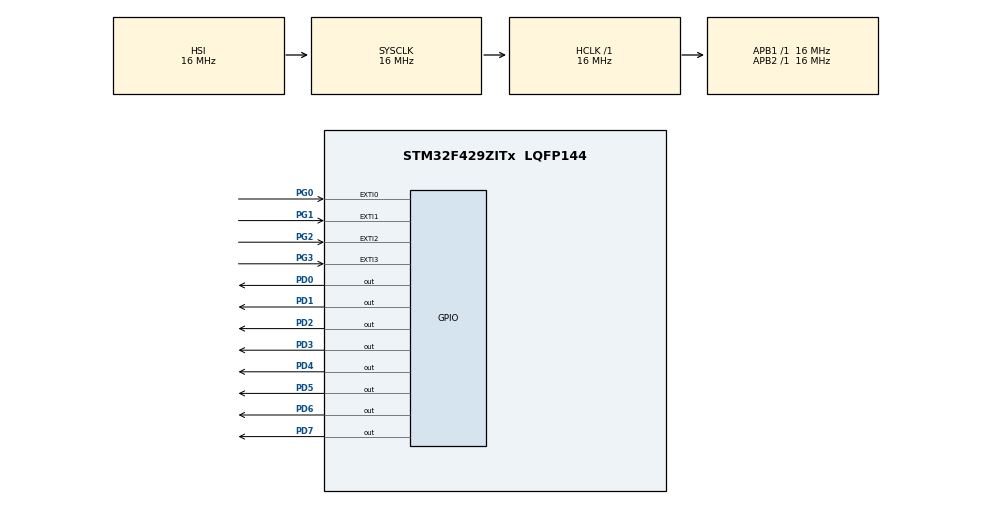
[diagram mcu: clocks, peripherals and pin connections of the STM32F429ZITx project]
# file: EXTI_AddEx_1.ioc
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Mcu.Family=STM32F4
Mcu.Name=STM32F429ZITx
Mcu.Package=LQFP144
NVIC.EXTI0_IRQn=true\:0\:0\:false\:false\:true\:true\:true\:true
NVIC.EXTI1_IRQn=true\:0\:0\:false\:false\:true\:true\:true\:true
NVIC.EXTI2_IRQn=true\:0\:0\:false\:false\:true\:true\:true\:true
NVIC.EXTI3_IRQn=true\:0\:0\:false\:false\:true\:true\:true\:true
NVIC.PriorityGroup=NVIC_PRIORITYGROUP_4
PD0.GPIO_ModeDefaultOutputPP=GPIO_MODE_OUTPUT_PP
PD0.GPIO_PuPd=GPIO_PULLUP
PD0.GPIO_Speed=GPIO_SPEED_FREQ_HIGH
PD0.PinState=GPIO_PIN_RESET
PD0.Signal=GPIO_Output
PD1.GPIO_ModeDefaultOutputPP=GPIO_MODE_OUTPUT_PP
PD1.GPIO_PuPd=GPIO_PULLUP
PD1.GPIO_Speed=GPIO_SPEED_FREQ_HIGH
PD1.PinState=GPIO_PIN_RESET
PD1.Signal=GPIO_Output
PD2.GPIO_ModeDefaultOutputPP=GPIO_MODE_OUTPUT_PP
PD2.GPIO_PuPd=GPIO_PULLUP
PD2.GPIO_Speed=GPIO_SPEED_FREQ_HIGH
PD2.PinState=GPIO_PIN_RESET
PD2.Signal=GPIO_Output
PD3.GPIO_ModeDefaultOutputPP=GPIO_MODE_OUTPUT_PP
PD3.GPIO_PuPd=GPIO_PULLUP
PD3.GPIO_Speed=GPIO_SPEED_FREQ_HIGH
PD3.PinState=GPIO_PIN_RESET
PD3.Signal=GPIO_Output
PD4.GPIO_ModeDefaultOutputPP=GPIO_MODE_OUTPUT_PP
PD4.GPIO_PuPd=GPIO_PULLUP
PD4.GPIO_Speed=GPIO_SPEED_FREQ_HIGH
PD4.PinState=GPIO_PIN_RESET
PD4.Signal=GPIO_Output
PD5.GPIO_ModeDefaultOutputPP=GPIO_MODE_OUTPUT_PP
PD5.GPIO_PuPd=GPIO_PULLUP
PD5.GPIO_Speed=GPIO_SPEED_FREQ_HIGH
PD5.PinState=GPIO_PIN_RESET
PD5.Signal=GPIO_Output
PD6.GPIO_ModeDefaultOutputPP=GPIO_MODE_OUTPUT_PP
PD6.GPIO_PuPd=GPIO_PULLUP
PD6.GPIO_Speed=GPIO_SPEED_FREQ_HIGH
PD6.PinState=GPIO_PIN_RESET
PD6.Signal=GPIO_Output
PD7.GPIO_ModeDefaultOutputPP=GPIO_MODE_OUTPUT_PP
PD7.GPIO_PuPd=GPIO_PULLUP
PD7.GPIO_Speed=GPIO_SPEED_FREQ_HIGH
PD7.PinState=GPIO_PIN_RESET
PD7.Signal=GPIO_Output
PG0.GPIO_ModeDefaultEXTI=GPIO_MODE_IT_FALLING
PG0.GPIO_PuPd=GPIO_NOPULL
PG0.Signal=GPXTI0
PG1.GPIO_ModeDefaultEXTI=GPIO_MODE_IT_FALLING
PG1.GPIO_PuPd=GPIO_NOPULL
PG1.Signal=GPXTI1
PG2.GPIO_ModeDefaultEXTI=GPIO_MODE_IT_RISING
PG2.GPIO_PuPd=GPIO_NOPULL
PG2.Signal=GPXTI2
PG3.GPIO_ModeDefaultEXTI=GPIO_MODE_IT_RISING
PG3.GPIO_PuPd=GPIO_NOPULL
PG3.Signal=GPXTI3
ProjectManager.HeapSize=0x200
ProjectManager.StackSize=0x400
ProjectManager.TargetToolchain=STM32CubeIDE
RCC.AHBFreq_Value=16000000
RCC.APB1Freq_Value=16000000
RCC.APB2Freq_Value=16000000
RCC.CortexFreq_Value=16000000
RCC.HSE_VALUE=25000000
RCC.HSI_VALUE=16000000
RCC.LSE_VALUE=32768
RCC.SYSCLKFreq_VALUE=16000000
RCC.VCOOutputFreq_Value=192000000
board=custom

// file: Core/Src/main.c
/* USER CODE BEGIN Header */
/**
  ******************************************************************************
  * @file           : main.c
  * @brief          : Main program body
  ******************************************************************************
  * @attention
  *
  * Copyright (c) 2023 STMicroelectronics.
  * All rights reserved.
  *
  * This software is licensed under terms that can be found in the LICENSE file
  * in the root directory of this software component.
  * If no LICENSE file comes with this software, it is provided AS-IS.
  *
  ******************************************************************************
  */
/* USER CODE END Header */
#include "main.h"

/* USER CODE BEGIN PV */

int flag_SW1 = 0, flag_SW2 = 0, flag_SW3 = 0, flag_SW4 = 0;

/* USER CODE END PV */

void SystemClock_Config(void);
static void MX_GPIO_Init(void);
/* USER CODE BEGIN PFP */

void LED_OnOff(int, int);

/* USER CODE END PFP */

int main(void)
{
  /* USER CODE BEGIN 1 */

	uint16_t led = 0x01;
	uint16_t led_c = 0x02;

  /* USER CODE END 1 */

  /* MCU Configuration--------------------------------------------------------*/

  /* Reset of all peripherals, Initializes the Flash interface and the Systick. */
  HAL_Init();

  /* Configure the system clock */
  SystemClock_Config();

  /* Initialize all configured peripherals */
  MX_GPIO_Init();
  /* USER CODE BEGIN 2 */

  LED_OnOff(LED_ALL, 500);

  /* USER CODE END 2 */

  /* Infinite loop */
  /* USER CODE BEGIN WHILE */
  while (1)
  {
	  /*
	  led = 0x01;

	  if ( flag_SW1 == 1 ) {

		  do {
				  LED_OnOff(led, 200);
				  led = led << 1;
				  led = led & 0xfe;
			  } while (led != 0x02);

	  }
	  if ( flag_SW2 == 1 ) {

		  do {
				  LED_OnOff(led, 200);
				  led = led << 1;
				  led = led & 0xfe;
			  } while (led != 0x08);

	  }
	  if ( flag_SW3 == 1 ) {

		  do {
				  LED_OnOff(led, 200);
				  led = led << 1;
				  led = led & 0xfe;
			  } while (led != 0x20);

	  }
	  if ( flag_SW4 == 1 ) {

		  do {
				  LED_OnOff(led, 200);
				  led = led << 1;
				  led = led & 0xfe;
			  } while (led != 0x80);

	  }
	  */
	  led == 0x00;

	  if ( flag_SW1 == 1 ) {
		  led = 0x01;
		  led_c = 0x02;
		  if (led == 0x01)
			  {
				  led_c = led_c << 1;
				  led_c = led_c & 0xfe;
			  }

		  do {
					  LED_OnOff(led, 200);
					  led = led << 1;
					  led = led & 0xfe;
				  } while (led != led_c);

		  if (led_c == 0x04)
					  {
						  led_c = 0x02;
					  }
	  	  }
	  if ( flag_SW2 == 1 ) {
		  led = 0x01;
		  led_c = 0x08;

		  if (led == 0x01)
		  {
			  led_c = led_c << 1;
			  led_c = led_c & 0xfe;

		  }

		  do {
				  LED_OnOff(led, 200);
				  led = led << 1;
				  led = led & 0xfe;
			  } while (led != led_c);

		  if (led_c == 0x10)
				  {
					  led_c = 0x08;
				  }
	  	  }
	  if ( flag_SW3 == 1 ) {
		  led = 0x01;
		  led_c = 0x20;

		  if (led == 0x01)
			  {
				  led_c = led_c << 1;
				  led_c = led_c & 0xfe;

			  }

		  do {
					  LED_OnOff(led, 200);
					  led = led << 1;
					  led = led & 0xfe;
				  } while (led != led_c);

		  if (led_c == 0x40)
					  {
						  led_c = 0x20;
					  }
	  	  }
	  if ( flag_SW4 == 1 ) {
		  led = 0x01;
		  led_c = 0x80;

		  if (led == 0x01)
		  {
			  led_c = led_c << 1;
			  led_c = led_c & 0xfe;

		  }

		  do {
				  LED_OnOff(led, 200);
				  led = led << 1;
				  led = led & 0xfe;
		  	  	  } while (led != led_c);

		  if (led_c == 0x00)
		  {
			  led_c = 0x80;
		  }
	  }

    /* USER CODE END WHILE */

  }
}

void SystemClock_Config(void)
{
  RCC_OscInitTypeDef RCC_OscInitStruct = {0};
  RCC_ClkInitTypeDef RCC_ClkInitStruct = {0};

  /** Configure the main internal regulator output voltage
  */
  __HAL_RCC_PWR_CLK_ENABLE();
  __HAL_PWR_VOLTAGESCALING_CONFIG(PWR_REGULATOR_VOLTAGE_SCALE3);

  /** Initializes the RCC Oscillators according to the specified parameters
  * in the RCC_OscInitTypeDef structure.
  */
  RCC_OscInitStruct.OscillatorType = RCC_OSCILLATORTYPE_HSI;
  RCC_OscInitStruct.HSIState = RCC_HSI_ON;
  RCC_OscInitStruct.HSICalibrationValue = RCC_HSICALIBRATION_DEFAULT;
  RCC_OscInitStruct.PLL.PLLState = RCC_PLL_NONE;
  if (HAL_RCC_OscConfig(&RCC_OscInitStruct) != HAL_OK)
  {
    Error_Handler();
  }

  /** Initializes the CPU, AHB and APB buses clocks
  */
  RCC_ClkInitStruct.ClockType = RCC_CLOCKTYPE_HCLK|RCC_CLOCKTYPE_SYSCLK
                              |RCC_CLOCKTYPE_PCLK1|RCC_CLOCKTYPE_PCLK2;
  RCC_ClkInitStruct.SYSCLKSource = RCC_SYSCLKSOURCE_HSI;
  RCC_ClkInitStruct.AHBCLKDivider = RCC_SYSCLK_DIV1;
  RCC_ClkInitStruct.APB1CLKDivider = RCC_HCLK_DIV1;
  RCC_ClkInitStruct.APB2CLKDivider = RCC_HCLK_DIV1;

  if (HAL_RCC_ClockConfig(&RCC_ClkInitStruct, FLASH_LATENCY_0) != HAL_OK)
  {
    Error_Handler();
  }
}

static void MX_GPIO_Init(void)
{
  GPIO_InitTypeDef GPIO_InitStruct = {0};

  /* GPIO Ports Clock Enable */
  __HAL_RCC_GPIOG_CLK_ENABLE();
  __HAL_RCC_GPIOD_CLK_ENABLE();

  /*Configure GPIO pin Output Level */
  HAL_GPIO_WritePin(GPIOD, GPIO_PIN_0|GPIO_PIN_1|GPIO_PIN_2|GPIO_PIN_3
                          |GPIO_PIN_4|GPIO_PIN_5|GPIO_PIN_6|GPIO_PIN_7, GPIO_PIN_RESET);

  /*Configure GPIO pins : PG0 PG1 */
  GPIO_InitStruct.Pin = GPIO_PIN_0|GPIO_PIN_1;
  GPIO_InitStruct.Mode = GPIO_MODE_IT_FALLING;
  GPIO_InitStruct.Pull = GPIO_NOPULL;
  HAL_GPIO_Init(GPIOG, &GPIO_InitStruct);

  /*Configure GPIO pins : PG2 PG3 */
  GPIO_InitStruct.Pin = GPIO_PIN_2|GPIO_PIN_3;
  GPIO_InitStruct.Mode = GPIO_MODE_IT_RISING;
  GPIO_InitStruct.Pull = GPIO_NOPULL;
  HAL_GPIO_Init(GPIOG, &GPIO_InitStruct);

  /*Configure GPIO pins : PD0 PD1 PD2 PD3
                           PD4 PD5 PD6 PD7 */
  GPIO_InitStruct.Pin = GPIO_PIN_0|GPIO_PIN_1|GPIO_PIN_2|GPIO_PIN_3
                          |GPIO_PIN_4|GPIO_PIN_5|GPIO_PIN_6|GPIO_PIN_7;
  GPIO_InitStruct.Mode = GPIO_MODE_OUTPUT_PP;
  GPIO_InitStruct.Pull = GPIO_PULLUP;
  GPIO_InitStruct.Speed = GPIO_SPEED_FREQ_HIGH;
  HAL_GPIO_Init(GPIOD, &GPIO_InitStruct);

  /* EXTI interrupt init*/
  HAL_NVIC_SetPriority(EXTI0_IRQn, 0, 0);
  HAL_NVIC_EnableIRQ(EXTI0_IRQn);

  HAL_NVIC_SetPriority(EXTI1_IRQn, 0, 0);
  HAL_NVIC_EnableIRQ(EXTI1_IRQn);

  HAL_NVIC_SetPriority(EXTI2_IRQn, 0, 0);
  HAL_NVIC_EnableIRQ(EXTI2_IRQn);

  HAL_NVIC_SetPriority(EXTI3_IRQn, 0, 0);
  HAL_NVIC_EnableIRQ(EXTI3_IRQn);

}

/* USER CODE BEGIN 4 */

void LED_OnOff(int led, int interval)
{
HAL_GPIO_WritePin(GPIO_LED, led, GPIO_PIN_SET );
HAL_GPIO_WritePin(GPIO_LED_Nucleo, led, GPIO_PIN_SET );
HAL_Delay(interval);
HAL_GPIO_WritePin(GPIO_LED, led, GPIO_PIN_RESET );
HAL_GPIO_WritePin(GPIO_LED_Nucleo, led, GPIO_PIN_RESET );
}
void HAL_GPIO_EXTI_Callback(uint16_t GPIO_PIN)
{
if ( GPIO_PIN == SW1) flag_SW1 = 1, flag_SW2 = 0, flag_SW3 = 0, flag_SW4 = 0;
if ( GPIO_PIN == SW2) flag_SW1 = 0, flag_SW2 = 1, flag_SW3 = 0, flag_SW4 = 0;
if ( GPIO_PIN == SW3) flag_SW1 = 0, flag_SW2 = 0, flag_SW3 = 1, flag_SW4 = 0;
if ( GPIO_PIN == SW4) flag_SW1 = 0, flag_SW2 = 0, flag_SW3 = 0, flag_SW4 = 1;
}

/* USER CODE END 4 */

void Error_Handler(void)
{
  __disable_irq();
  while (1)
  {
  }
}
